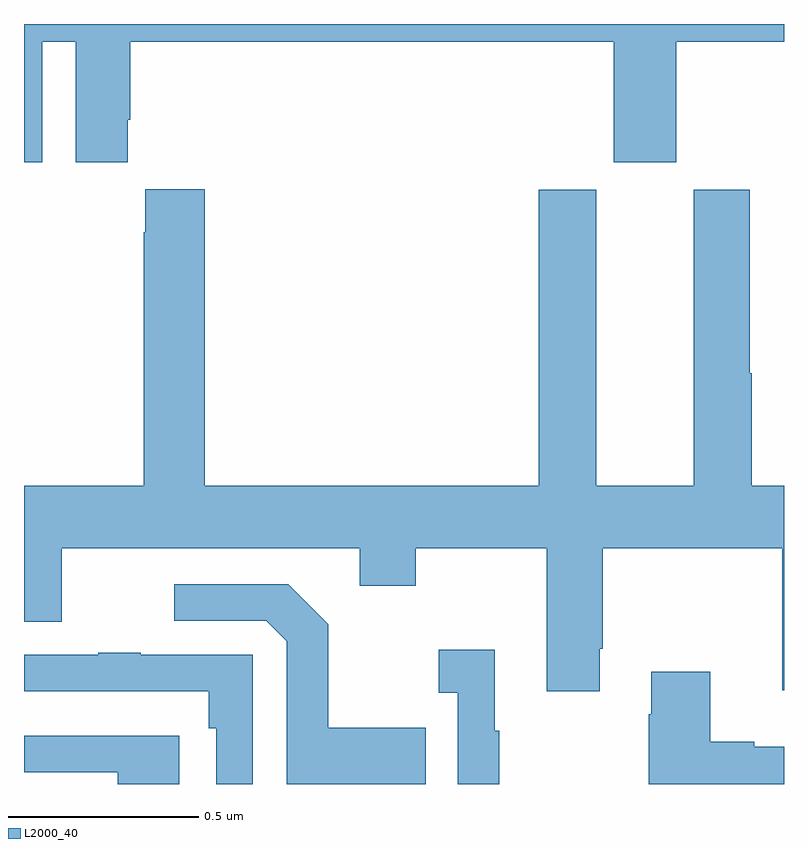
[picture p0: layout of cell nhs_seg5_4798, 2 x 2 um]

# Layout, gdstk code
import gdstk
lib = gdstk.Library(unit=1e-6, precision=1e-09)
def P(c, l, *ps):  # polygons
    for p in ps: c.add(gdstk.Polygon(p, *l))
L2000_40 = (2000, 40)

nhs_seg5_4798 = lib.new_cell('nhs_seg5_4798')
P(nhs_seg5_4798, L2000_40, [(175.048,864.752),(175.136,864.752),(175.136,864.435),(175.273,864.435),(175.273,864.547),(175.28,864.547),(175.28,864.752),(176.552,864.752),(176.552,864.435),(176.716,864.435),(176.716,864.752),(177,864.752),(177,864.799),(175,864.799),(175,864.435),(175.048,864.435)],
  [(176.515,863.155),(176.523,863.155),(176.523,863.42),(176.996,863.42),(176.996,863.046),(177,863.046),(177,863.584),(176.915,863.584),(176.915,863.88),(176.91,863.88),(176.91,864.363),(176.762,864.363),(176.762,863.584),(176.506,863.584),(176.506,864.363),(176.354,864.363),(176.354,863.584),(175.475,863.584),(175.475,864.364),(175.319,864.364),(175.319,864.251),(175.315,864.251),(175.315,863.584),(175,863.584),(175,863.226),(175.099,863.226),(175.099,863.42),(175.883,863.42),(175.883,863.321),(176.031,863.321),(176.031,863.42),(176.375,863.42),(176.375,863.043),(176.515,863.043)],
  [(176.057,862.947),(175.801,862.947),(175.801,863.219),(175.695,863.325),(175.395,863.325),(175.395,863.229),(175.638,863.229),(175.692,863.175),(175.692,862.799),(176.057,862.799)],
  [(176.251,862.939),(176.239,862.939),(176.239,863.152),(176.091,863.152),(176.091,863.039),(176.142,863.039),(176.142,862.799),(176.251,862.799)],
  [(175.602,863.139),(175.307,863.139),(175.307,863.144),(175.195,863.144),(175.195,863.139),(175,863.139),(175,863.043),(175.486,863.043),(175.486,862.946),(175.506,862.946),(175.506,862.799),(175.602,862.799)],
  [(177,862.897),(176.922,862.897),(176.922,862.91),(176.806,862.91),(176.806,863.095),(176.651,863.095),(176.651,862.982),(176.644,862.982),(176.644,862.799),(177,862.799)],
  [(175.408,862.926),(175,862.926),(175,862.83),(175.247,862.83),(175.247,862.799),(175.408,862.799)])

lib.write_gds('nhs_seg5_4798.gds')
